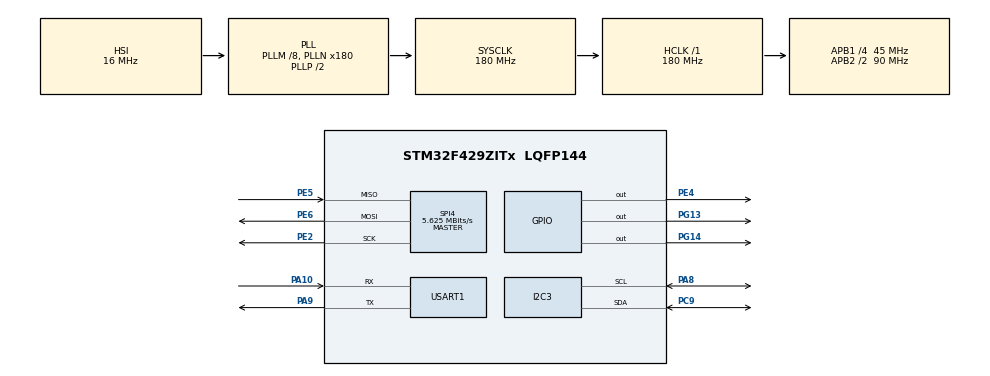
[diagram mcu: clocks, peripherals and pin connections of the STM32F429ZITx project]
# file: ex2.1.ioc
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I2C3.I2C_Mode=I2C_Fast
Mcu.Family=STM32F4
Mcu.Name=STM32F429ZITx
Mcu.Package=LQFP144
NVIC.PriorityGroup=NVIC_PRIORITYGROUP_4
NVIC.USART1_IRQn=true\:0\:0\:false\:false\:true\:true\:true\:true
PA10.Mode=Asynchronous
PA10.Signal=USART1_RX
PA8.Mode=I2C
PA8.Signal=I2C3_SCL
PA9.Mode=Asynchronous
PA9.Signal=USART1_TX
PC14/OSC32_IN.Mode=LSE-External-Oscillator
PC14/OSC32_IN.Signal=RCC_OSC32_IN
PC15/OSC32_OUT.Mode=LSE-External-Oscillator
PC15/OSC32_OUT.Signal=RCC_OSC32_OUT
PC9.Mode=I2C
PC9.Signal=I2C3_SDA
PE2.Mode=Full_Duplex_Master
PE2.Signal=SPI4_SCK
PE4.Signal=GPIO_Output
PE5.Mode=Full_Duplex_Master
PE5.Signal=SPI4_MISO
PE6.Mode=Full_Duplex_Master
PE6.Signal=SPI4_MOSI
PG13.Signal=GPIO_Output
PG14.Signal=GPIO_Output
PH0/OSC_IN.Mode=HSE-External-Oscillator
PH0/OSC_IN.Signal=RCC_OSC_IN
PH1/OSC_OUT.Mode=HSE-External-Oscillator
PH1/OSC_OUT.Signal=RCC_OSC_OUT
ProjectManager.HeapSize=0x200
ProjectManager.StackSize=0x400
ProjectManager.TargetToolchain=STM32CubeIDE
RCC.48MHZClocksFreq_Value=90000000
RCC.AHBFreq_Value=180000000
RCC.APB1CLKDivider=RCC_HCLK_DIV4
RCC.APB1Freq_Value=45000000
RCC.APB1TimFreq_Value=90000000
RCC.APB2CLKDivider=RCC_HCLK_DIV2
RCC.APB2Freq_Value=90000000
RCC.APB2TimFreq_Value=180000000
RCC.CortexFreq_Value=180000000
RCC.HCLKFreq_Value=180000000
RCC.HSE_VALUE=25000000
RCC.HSI_VALUE=16000000
RCC.PLLM=8
RCC.PLLN=180
RCC.SYSCLKFreq_VALUE=180000000
RCC.SYSCLKSource=RCC_SYSCLKSOURCE_PLLCLK
RCC.VCOOutputFreq_Value=360000000
SPI4.BaudRatePrescaler=SPI_BAUDRATEPRESCALER_16
SPI4.CalculateBaudRate=5.625 MBits/s
SPI4.Direction=SPI_DIRECTION_2LINES
SPI4.Mode=SPI_MODE_MASTER
SPI4.VirtualType=VM_MASTER
USART1.VirtualMode=VM_ASYNC
VP_TIM6_VS_ClockSourceINT.Mode=Enable_Timer
board=custom

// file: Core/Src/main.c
/* USER CODE BEGIN Header */
/**
  ******************************************************************************
  * @file           : main.c
  * @brief          : Main program body - Bai 3.9 DS1307 + SH1106 + RC522 + UART log
  ******************************************************************************
  * @attention
  *
  * Copyright (c) 2026 STMicroelectronics.
  * All rights reserved.
  *
  * This software is licensed under terms that can be found in the LICENSE file
  * in the root directory of this software component.
  * If no LICENSE file comes with this software, it is provided AS-IS.
  *
  ******************************************************************************
  */
/* USER CODE END Header */
#include "main.h"

/* USER CODE BEGIN Includes */
#include <stdio.h>
#include <string.h>
#include <stdlib.h>
#include <ctype.h>
#include "sh1106.h"
#include "fonts.h"
#include "tm_stm32f4_mfrc522.h"
/* USER CODE END Includes */

/* USER CODE BEGIN PTD */
typedef struct
{
  uint8_t sec;
  uint8_t min;
  uint8_t hour;
  uint8_t weekday;
  uint8_t day;
  uint8_t month;
  uint8_t year;
} Time;

typedef struct
{
  Time time;
  uint8_t cardID[5];
  uint8_t accepted;   // 1 = Welcome, 0 = Rejected
} AccessLog;
/* USER CODE END PTD */

/* USER CODE BEGIN PD */
#define DS1307_ADDR                  (0x68 << 1)
#define DS1307_REG_TIME              0x00

/* Đổi thành 1 nếu muốn set lại giờ ban đầu cho DS1307.
 * Sau khi set xong một lần, nên để lại 0.
 */
#define SET_DS1307_TIME_ON_START     0

#define MAX_AUTH_CARDS               10
#define MAX_LOGS                     100
#define UART_CMD_BUF_SIZE            64

#define LED3_PORT                    GPIOG
#define LED3_PIN                     GPIO_PIN_13
#define LED4_PORT                    GPIOG
#define LED4_PIN                     GPIO_PIN_14

#define RC522_CS_PORT                GPIOE
#define RC522_CS_PIN                 GPIO_PIN_4
/* USER CODE END PD */

I2C_HandleTypeDef hi2c3;

SPI_HandleTypeDef hspi4;

TIM_HandleTypeDef htim6;

UART_HandleTypeDef huart1;

/* USER CODE BEGIN PV */
/* Danh sách mã thẻ hợp lệ.
 * Có thể nhập/thay đổi bằng Hercules:
 *   SET AA BB CC DD EE  : xóa danh sách cũ, lưu 1 thẻ mới vào AuthorizedCards[0]
 *   ADD AA BB CC DD EE  : thêm 1 thẻ mới vào AuthorizedCards
 *   LIST                : xem danh sách thẻ hợp lệ
 */

static uint8_t uart_rx_byte;

static char uart_cmd_buf[UART_CMD_BUF_SIZE];
static char uart_cmd_line[UART_CMD_BUF_SIZE];

static volatile uint8_t uart_cmd_ready = 0;
static volatile uint8_t uart_cmd_index = 0;

static uint8_t AuthorizedCards[MAX_AUTH_CARDS][5] = {
		{}
};
static uint8_t AuthorizedCount = 1;

static AccessLog Logs[MAX_LOGS];
static uint8_t LogCount = 0;
/* USER CODE END PV */

void SystemClock_Config(void);
static void MX_GPIO_Init(void);
static void MX_I2C3_Init(void);
static void MX_SPI4_Init(void);
static void MX_TIM6_Init(void);
static void MX_USART1_UART_Init(void);
/* USER CODE BEGIN PFP */
static uint8_t DecToBCD(uint8_t val);
static uint8_t BCDToDec(uint8_t val);
static HAL_StatusTypeDef SetTime(Time *time);
static HAL_StatusTypeDef GetTime(Time *time);

static void UART_Print(const char *s);
static void UART_PrintCardID(const char *prefix, uint8_t cardID[5]);
static void ProcessUartRx(void);
static void ProcessCommand(char *cmd);
static uint8_t ParseCardID(char *text, uint8_t out[5]);

static void OLED_ClearLines(void);
static void OLED_ShowIdle(void);
static void OLED_ShowAccess(uint8_t accepted, uint8_t cardID[5]);

static uint8_t IsAuthorized(uint8_t cardID[5]);
static void AddLog(Time *time, uint8_t cardID[5], uint8_t accepted);
static void PrintLogs(void);
static void PrintAuthorizedCards(void);
static void HandleCard(uint8_t cardID[5]);
/* USER CODE END PFP */

/* USER CODE BEGIN 0 */
static uint8_t DecToBCD(uint8_t val)
{
  return (uint8_t)(((val / 10) << 4) | (val % 10));
}

static uint8_t BCDToDec(uint8_t val)
{
  return (uint8_t)(((val >> 4) * 10) + (val & 0x0F));
}

static HAL_StatusTypeDef SetTime(Time *time)
{
  uint8_t data[7];

  data[0] = DecToBCD(time->sec);
  data[1] = DecToBCD(time->min);
  data[2] = DecToBCD(time->hour);
  data[3] = DecToBCD(time->weekday);
  data[4] = DecToBCD(time->day);
  data[5] = DecToBCD(time->month);
  data[6] = DecToBCD(time->year);

  return HAL_I2C_Mem_Write(&hi2c3,
                           DS1307_ADDR,
                           DS1307_REG_TIME,
                           I2C_MEMADD_SIZE_8BIT,
                           data,
                           7,
                           1000);
}

static HAL_StatusTypeDef GetTime(Time *time)
{
  uint8_t data[7];
  HAL_StatusTypeDef status;

  status = HAL_I2C_Mem_Read(&hi2c3,
                            DS1307_ADDR,
                            DS1307_REG_TIME,
                            I2C_MEMADD_SIZE_8BIT,
                            data,
                            7,
                            1000);

  if (status != HAL_OK)
  {
    return status;
  }

  time->sec     = BCDToDec(data[0] & 0x7F);
  time->min     = BCDToDec(data[1]);
  time->hour    = BCDToDec(data[2] & 0x3F);
  time->weekday = BCDToDec(data[3]);
  time->day     = BCDToDec(data[4]);
  time->month   = BCDToDec(data[5]);
  time->year    = BCDToDec(data[6]);

  return HAL_OK;
}

static void UART_Print(const char *s)
{
  HAL_UART_Transmit(&huart1, (uint8_t *)s, strlen(s), 1000);
}

static void UART_PrintCardID(const char *prefix, uint8_t cardID[5])
{
  char buff[96];

  sprintf(buff, "%s%02X %02X %02X %02X %02X\r\n",
          prefix,
          cardID[0], cardID[1], cardID[2], cardID[3], cardID[4]);

  UART_Print(buff);
}

static void OLED_ClearLines(void)
{
  /* Xóa 3 dòng bằng cách ghi đè khoảng trắng, không phụ thuộc hàm clear của thư viện. */
  SH1106_GotoXY(0, 0);
  SH1106_Puts("           ", &Font_11x18, 1);

  SH1106_GotoXY(0, 22);
  SH1106_Puts("           ", &Font_11x18, 1);

  SH1106_GotoXY(0, 44);
  SH1106_Puts("           ", &Font_11x18, 1);
}

static void OLED_ShowIdle(void)
{
  OLED_ClearLines();

  SH1106_GotoXY(8, 10);
  SH1106_Puts("Scan Card", &Font_11x18, 1);

  SH1106_UpdateScreen();
}

static void OLED_ShowAccess(uint8_t accepted, uint8_t cardID[5])
{
  char line1[20];
  char line2[20];

  sprintf(line1, "%02X %02X %02X", cardID[0], cardID[1], cardID[2]);
  sprintf(line2, "%02X %02X", cardID[3], cardID[4]);

  OLED_ClearLines();

  SH1106_GotoXY(18, 0);
  if (accepted)
  {
    SH1106_Puts("Welcome", &Font_11x18, 1);
  }
  else
  {
    SH1106_Puts("Rejected", &Font_11x18, 1);
  }

  SH1106_GotoXY(0, 22);
  SH1106_Puts(line1, &Font_11x18, 1);

  SH1106_GotoXY(30, 44);
  SH1106_Puts(line2, &Font_11x18, 1);

  SH1106_UpdateScreen();
}

static uint8_t IsAuthorized(uint8_t cardID[5])
{
  uint8_t i;

  for (i = 0; i < AuthorizedCount; i++)
  {
    if (memcmp(cardID, AuthorizedCards[i], 5) == 0)
    {
      return 1;
    }
  }

  return 0;
}

static void AddLog(Time *time, uint8_t cardID[5], uint8_t accepted)
{
  uint8_t i;

  if (LogCount >= MAX_LOGS)
  {
    /* Nếu đầy 100 bản ghi, bỏ bản ghi cũ nhất. */
    for (i = 1; i < MAX_LOGS; i++)
    {
      Logs[i - 1] = Logs[i];
    }
    LogCount = MAX_LOGS - 1;
  }

  Logs[LogCount].time = *time;
  memcpy(Logs[LogCount].cardID, cardID, 5);
  Logs[LogCount].accepted = accepted;
  LogCount++;
}

static void PrintLogs(void)
{
  char buff[160];
  uint8_t i;

  UART_Print("\r\n===== ACCESS LOG =====\r\n");

  if (LogCount == 0)
  {
    UART_Print("No log\r\n");
    return;
  }

  for (i = 0; i < LogCount; i++)
  {
    sprintf(buff,
            "%03d. %02d:%02d:%02d %02d/%02d/20%02d | %02X %02X %02X %02X %02X | %s\r\n",
            i + 1,
            Logs[i].time.hour,
            Logs[i].time.min,
            Logs[i].time.sec,
            Logs[i].time.day,
            Logs[i].time.month,
            Logs[i].time.year,
            Logs[i].cardID[0],
            Logs[i].cardID[1],
            Logs[i].cardID[2],
            Logs[i].cardID[3],
            Logs[i].cardID[4],
            Logs[i].accepted ? "WELCOME" : "REJECTED");

    UART_Print(buff);
  }
}

static void PrintAuthorizedCards(void)
{
  char buff[96];
  uint8_t i;

  UART_Print("\r\n===== AUTHORIZED CARDS =====\r\n");

  if (AuthorizedCount == 0)
  {
    UART_Print("No authorized card. Use SET AA BB CC DD EE or ADD AA BB CC DD EE.\r\n");
    return;
  }

  for (i = 0; i < AuthorizedCount; i++)
  {
    sprintf(buff, "%02d. %02X %02X %02X %02X %02X\r\n",
            i + 1,
            AuthorizedCards[i][0],
            AuthorizedCards[i][1],
            AuthorizedCards[i][2],
            AuthorizedCards[i][3],
            AuthorizedCards[i][4]);
    UART_Print(buff);
  }
}

static uint8_t ParseCardID(char *text, uint8_t out[5])
{
  unsigned int b0, b1, b2, b3, b4;

  if (sscanf(text, "%x %x %x %x %x", &b0, &b1, &b2, &b3, &b4) == 5)
  {
    if (b0 <= 0xFF && b1 <= 0xFF && b2 <= 0xFF && b3 <= 0xFF && b4 <= 0xFF)
    {
      out[0] = (uint8_t)b0;
      out[1] = (uint8_t)b1;
      out[2] = (uint8_t)b2;
      out[3] = (uint8_t)b3;
      out[4] = (uint8_t)b4;
      return 1;
    }
  }

  return 0;
}

static void ProcessCommand(char *cmd)
{
  uint8_t card[5];
  uint8_t i;

  /* Chuyển lệnh về chữ hoa để dùng được cả a-f thường trong mã HEX. */
  for (i = 0; cmd[i] != '\0'; i++)
  {
    cmd[i] = (char)toupper((unsigned char)cmd[i]);
  }

  if (strcmp(cmd, "HELP") == 0)
  {
    UART_Print("\r\nCommands:\r\n");
    UART_Print("HELP                 : show commands\r\n");
    UART_Print("LOG                  : show access log\r\n");
    UART_Print("CLEARLOG             : clear log\r\n");
    UART_Print("LIST                 : show authorized cards\r\n");
    UART_Print("CLEARCARD            : clear authorized card list\r\n");
    UART_Print("SET AA BB CC DD EE   : replace authorized list by one card\r\n");
    UART_Print("ADD AA BB CC DD EE   : add one authorized card\r\n");
    return;
  }

  if (strcmp(cmd, "LOG") == 0)
  {
    PrintLogs();
    return;
  }

  if (strcmp(cmd, "CLEARLOG") == 0)
  {
    LogCount = 0;
    UART_Print("Log cleared\r\n");
    return;
  }

  if (strcmp(cmd, "LIST") == 0)
  {
    PrintAuthorizedCards();
    return;
  }

  if (strcmp(cmd, "CLEARCARD") == 0)
  {
    memset(AuthorizedCards, 0, sizeof(AuthorizedCards));
    AuthorizedCount = 0;
    UART_Print("Authorized card list cleared. Use SET or ADD to save card IDs.\r\n");
    return;
  }

  if (strncmp(cmd, "SET ", 4) == 0)
  {
    if (ParseCardID(cmd + 4, card))
    {
      memcpy(AuthorizedCards[0], card, 5);
      AuthorizedCount = 1;
      UART_PrintCardID("Set authorized card: ", card);
    }
    else
    {
      UART_Print("SET format error. Example: SET A1 B2 C3 D4 E5\r\n");
    }
    return;
  }

  if (strncmp(cmd, "ADD ", 4) == 0)
  {
    if (AuthorizedCount >= MAX_AUTH_CARDS)
    {
      UART_Print("Authorized card list is full\r\n");
      return;
    }

    if (ParseCardID(cmd + 4, card))
    {
      memcpy(AuthorizedCards[AuthorizedCount], card, 5);
      AuthorizedCount++;
      UART_PrintCardID("Added authorized card: ", card);
    }
    else
    {
      UART_Print("ADD format error. Example: ADD A1 B2 C3 D4 E5\r\n");
    }
    return;
  }

  UART_Print("Unknown command. Type HELP\r\n");
}

static void ProcessUartRx(void)
{
  char cmd[UART_CMD_BUF_SIZE];

  if (uart_cmd_ready)
  {
    __disable_irq();

    strcpy(cmd, uart_cmd_line);
    uart_cmd_ready = 0;

    __enable_irq();

    ProcessCommand(cmd);
  }
}

static void HandleCard(uint8_t cardID[5])
{
  Time now;
  uint8_t accepted;
  char buff[96];

  accepted = IsAuthorized(cardID);

  HAL_GPIO_WritePin(LED4_PORT, LED4_PIN, accepted ? GPIO_PIN_SET : GPIO_PIN_RESET);

  if (GetTime(&now) != HAL_OK)
  {
    now.sec = 0;
    now.min = 0;
    now.hour = 0;
    now.weekday = 0;
    now.day = 0;
    now.month = 0;
    now.year = 0;
    UART_Print("Read DS1307 ERROR, log time = 00:00:00\r\n");
  }

  AddLog(&now, cardID, accepted);
  OLED_ShowAccess(accepted, cardID);

  UART_PrintCardID("Card ID: ", cardID);
  sprintf(buff, "Result: %s | Time: %02d:%02d:%02d %02d/%02d/20%02d\r\n",
          accepted ? "WELCOME" : "REJECTED",
          now.hour, now.min, now.sec, now.day, now.month, now.year);
  UART_Print(buff);
}
/* USER CODE END 0 */

int main(void)
{

  /* USER CODE BEGIN 1 */
  uint8_t CardID[5];
  uint8_t LastCardID[5] = {0};
  uint8_t cardPresent = 0;
  uint8_t missCount = 0;
  Time setTime;
  /* USER CODE END 1 */

  /* MCU Configuration--------------------------------------------------------*/

  /* Reset of all peripherals, Initializes the Flash interface and the Systick. */
  HAL_Init();

  /* Configure the system clock */
  SystemClock_Config();

  /* Initialize all configured peripherals */
  MX_GPIO_Init();
  MX_I2C3_Init();
  MX_SPI4_Init();
  MX_TIM6_Init();
  MX_USART1_UART_Init();
  /* USER CODE BEGIN 2 */

  /* De-select RC522: SS/CS = HIGH */
  HAL_GPIO_WritePin(RC522_CS_PORT, RC522_CS_PIN, GPIO_PIN_SET);

  HAL_UART_Receive_IT(&huart1, &uart_rx_byte, 1);

  SH1106_Init();
  TM_MFRC522_Init();

#if SET_DS1307_TIME_ON_START
  setTime.sec = 10;
  setTime.min = 30;
  setTime.hour = 7;
  setTime.weekday = 4;
  setTime.day = 17;
  setTime.month = 4;
  setTime.year = 25;
  if (SetTime(&setTime) == HAL_OK)
  {
    UART_Print("Set DS1307 time OK\r\n");
  }
  else
  {
    UART_Print("Set DS1307 time ERROR\r\n");
  }
#else
  (void)setTime;
#endif

  OLED_ShowIdle();

  UART_Print("\r\nBai 3.9 ready\r\n");
  UART_Print("Type HELP for commands\r\n");
  PrintAuthorizedCards();

  /* USER CODE END 2 */

  /* Infinite loop */
  /* USER CODE BEGIN WHILE */
  while (1)
  {
    ProcessUartRx();

    if (TM_MFRC522_Check(CardID) == MI_OK)
    {
      missCount = 0;
      HAL_GPIO_WritePin(LED3_PORT, LED3_PIN, GPIO_PIN_SET);

      if ((cardPresent == 0) || (memcmp(CardID, LastCardID, 5) != 0))
      {
        memcpy(LastCardID, CardID, 5);
        cardPresent = 1;
        HandleCard(CardID);
      }
    }
    else
    {
      if (cardPresent)
      {
        missCount++;
        if (missCount >= 3)
        {
          cardPresent = 0;
          missCount = 0;
          memset(LastCardID, 0, 5);

          HAL_GPIO_WritePin(LED3_PORT, LED3_PIN, GPIO_PIN_RESET);
          HAL_GPIO_WritePin(LED4_PORT, LED4_PIN, GPIO_PIN_RESET);

          UART_Print("Card removed\r\n");
          OLED_ShowIdle();
        }
      }
      else
      {
        HAL_GPIO_WritePin(LED3_PORT, LED3_PIN, GPIO_PIN_RESET);
        HAL_GPIO_WritePin(LED4_PORT, LED4_PIN, GPIO_PIN_RESET);
      }
    }

    HAL_Delay(100);

    /* USER CODE END WHILE */

  }
}

void SystemClock_Config(void)
{
  RCC_OscInitTypeDef RCC_OscInitStruct = {0};
  RCC_ClkInitTypeDef RCC_ClkInitStruct = {0};

  /** Configure the main internal regulator output voltage
  */
  __HAL_RCC_PWR_CLK_ENABLE();
  __HAL_PWR_VOLTAGESCALING_CONFIG(PWR_REGULATOR_VOLTAGE_SCALE1);

  /** Initializes the RCC Oscillators according to the specified parameters
  * in the RCC_OscInitTypeDef structure.
  */
  RCC_OscInitStruct.OscillatorType = RCC_OSCILLATORTYPE_HSI;
  RCC_OscInitStruct.HSIState = RCC_HSI_ON;
  RCC_OscInitStruct.HSICalibrationValue = RCC_HSICALIBRATION_DEFAULT;
  RCC_OscInitStruct.PLL.PLLState = RCC_PLL_ON;
  RCC_OscInitStruct.PLL.PLLSource = RCC_PLLSOURCE_HSI;
  RCC_OscInitStruct.PLL.PLLM = 8;
  RCC_OscInitStruct.PLL.PLLN = 180;
  RCC_OscInitStruct.PLL.PLLP = RCC_PLLP_DIV2;
  RCC_OscInitStruct.PLL.PLLQ = 4;
  if (HAL_RCC_OscConfig(&RCC_OscInitStruct) != HAL_OK)
  {
    Error_Handler();
  }

  /** Activate the Over-Drive mode
  */
  if (HAL_PWREx_EnableOverDrive() != HAL_OK)
  {
    Error_Handler();
  }

  /** Initializes the CPU, AHB and APB buses clocks
  */
  RCC_ClkInitStruct.ClockType = RCC_CLOCKTYPE_HCLK|RCC_CLOCKTYPE_SYSCLK
                              |RCC_CLOCKTYPE_PCLK1|RCC_CLOCKTYPE_PCLK2;
  RCC_ClkInitStruct.SYSCLKSource = RCC_SYSCLKSOURCE_PLLCLK;
  RCC_ClkInitStruct.AHBCLKDivider = RCC_SYSCLK_DIV1;
  RCC_ClkInitStruct.APB1CLKDivider = RCC_HCLK_DIV4;
  RCC_ClkInitStruct.APB2CLKDivider = RCC_HCLK_DIV2;

  if (HAL_RCC_ClockConfig(&RCC_ClkInitStruct, FLASH_LATENCY_5) != HAL_OK)
  {
    Error_Handler();
  }
}

static void MX_I2C3_Init(void)
{

  hi2c3.Instance = I2C3;
  hi2c3.Init.ClockSpeed = 400000;
  hi2c3.Init.DutyCycle = I2C_DUTYCYCLE_2;
  hi2c3.Init.OwnAddress1 = 0;
  hi2c3.Init.AddressingMode = I2C_ADDRESSINGMODE_7BIT;
  hi2c3.Init.DualAddressMode = I2C_DUALADDRESS_DISABLE;
  hi2c3.Init.OwnAddress2 = 0;
  hi2c3.Init.GeneralCallMode = I2C_GENERALCALL_DISABLE;
  hi2c3.Init.NoStretchMode = I2C_NOSTRETCH_DISABLE;
  if (HAL_I2C_Init(&hi2c3) != HAL_OK)
  {
    Error_Handler();
  }

  /** Configure Analogue filter
  */
  if (HAL_I2CEx_ConfigAnalogFilter(&hi2c3, I2C_ANALOGFILTER_ENABLE) != HAL_OK)
  {
    Error_Handler();
  }

  /** Configure Digital filter
  */
  if (HAL_I2CEx_ConfigDigitalFilter(&hi2c3, 0) != HAL_OK)
  {
    Error_Handler();
  }

}

static void MX_SPI4_Init(void)
{

  /* SPI4 parameter configuration*/
  hspi4.Instance = SPI4;
  hspi4.Init.Mode = SPI_MODE_MASTER;
  hspi4.Init.Direction = SPI_DIRECTION_2LINES;
  hspi4.Init.DataSize = SPI_DATASIZE_8BIT;
  hspi4.Init.CLKPolarity = SPI_POLARITY_LOW;
  hspi4.Init.CLKPhase = SPI_PHASE_1EDGE;
  hspi4.Init.NSS = SPI_NSS_SOFT;
  hspi4.Init.BaudRatePrescaler = SPI_BAUDRATEPRESCALER_16;
  hspi4.Init.FirstBit = SPI_FIRSTBIT_MSB;
  hspi4.Init.TIMode = SPI_TIMODE_DISABLE;
  hspi4.Init.CRCCalculation = SPI_CRCCALCULATION_DISABLE;
  hspi4.Init.CRCPolynomial = 10;
  if (HAL_SPI_Init(&hspi4) != HAL_OK)
  {
    Error_Handler();
  }

}

static void MX_TIM6_Init(void)
{

  TIM_MasterConfigTypeDef sMasterConfig = {0};

  htim6.Instance = TIM6;
  htim6.Init.Prescaler = 0;
  htim6.Init.CounterMode = TIM_COUNTERMODE_UP;
  htim6.Init.Period = 65535;
  htim6.Init.AutoReloadPreload = TIM_AUTORELOAD_PRELOAD_DISABLE;
  if (HAL_TIM_Base_Init(&htim6) != HAL_OK)
  {
    Error_Handler();
  }
  sMasterConfig.MasterOutputTrigger = TIM_TRGO_RESET;
  sMasterConfig.MasterSlaveMode = TIM_MASTERSLAVEMODE_DISABLE;
  if (HAL_TIMEx_MasterConfigSynchronization(&htim6, &sMasterConfig) != HAL_OK)
  {
    Error_Handler();
  }

}

static void MX_USART1_UART_Init(void)
{

  huart1.Instance = USART1;
  huart1.Init.BaudRate = 115200;
  huart1.Init.WordLength = UART_WORDLENGTH_8B;
  huart1.Init.StopBits = UART_STOPBITS_1;
  huart1.Init.Parity = UART_PARITY_NONE;
  huart1.Init.Mode = UART_MODE_TX_RX;
  huart1.Init.HwFlowCtl = UART_HWCONTROL_NONE;
  huart1.Init.OverSampling = UART_OVERSAMPLING_16;
  if (HAL_UART_Init(&huart1) != HAL_OK)
  {
    Error_Handler();
  }

}

static void MX_GPIO_Init(void)
{
  GPIO_InitTypeDef GPIO_InitStruct = {0};

  /* GPIO Ports Clock Enable */
  __HAL_RCC_GPIOE_CLK_ENABLE();
  __HAL_RCC_GPIOC_CLK_ENABLE();
  __HAL_RCC_GPIOH_CLK_ENABLE();
  __HAL_RCC_GPIOA_CLK_ENABLE();
  __HAL_RCC_GPIOG_CLK_ENABLE();

  /*Configure GPIO pin Output Level */
  HAL_GPIO_WritePin(GPIOE, GPIO_PIN_4, GPIO_PIN_RESET);

  /*Configure GPIO pin Output Level */
  HAL_GPIO_WritePin(GPIOG, GPIO_PIN_13|GPIO_PIN_14, GPIO_PIN_RESET);

  /*Configure GPIO pin : PE4 */
  GPIO_InitStruct.Pin = GPIO_PIN_4;
  GPIO_InitStruct.Mode = GPIO_MODE_OUTPUT_PP;
  GPIO_InitStruct.Pull = GPIO_NOPULL;
  GPIO_InitStruct.Speed = GPIO_SPEED_FREQ_LOW;
  HAL_GPIO_Init(GPIOE, &GPIO_InitStruct);

  /*Configure GPIO pins : PG13 PG14 */
  GPIO_InitStruct.Pin = GPIO_PIN_13|GPIO_PIN_14;
  GPIO_InitStruct.Mode = GPIO_MODE_OUTPUT_PP;
  GPIO_InitStruct.Pull = GPIO_NOPULL;
  GPIO_InitStruct.Speed = GPIO_SPEED_FREQ_LOW;
  HAL_GPIO_Init(GPIOG, &GPIO_InitStruct);

}

/* USER CODE BEGIN 4 */
void HAL_UART_RxCpltCallback(UART_HandleTypeDef *huart)
{
  if (huart->Instance == USART1)
  {
    uint8_t ch = uart_rx_byte;

    if (ch == '\r' || ch == '\n')
    {
      if (uart_cmd_index > 0 && uart_cmd_ready == 0)
      {
        uart_cmd_buf[uart_cmd_index] = '\0';
        strcpy(uart_cmd_line, uart_cmd_buf);

        uart_cmd_index = 0;
        uart_cmd_ready = 1;
      }
    }
    else
    {
      if (uart_cmd_ready == 0)
      {
        if (uart_cmd_index < UART_CMD_BUF_SIZE - 1)
        {
          uart_cmd_buf[uart_cmd_index++] = (char)ch;
        }
        else
        {
          uart_cmd_index = 0;
        }
      }
    }

    HAL_UART_Receive_IT(&huart1, &uart_rx_byte, 1);
  }
}
/* USER CODE END 4 */

void Error_Handler(void)
{
  __disable_irq();
  while (1)
  {
  }
}
